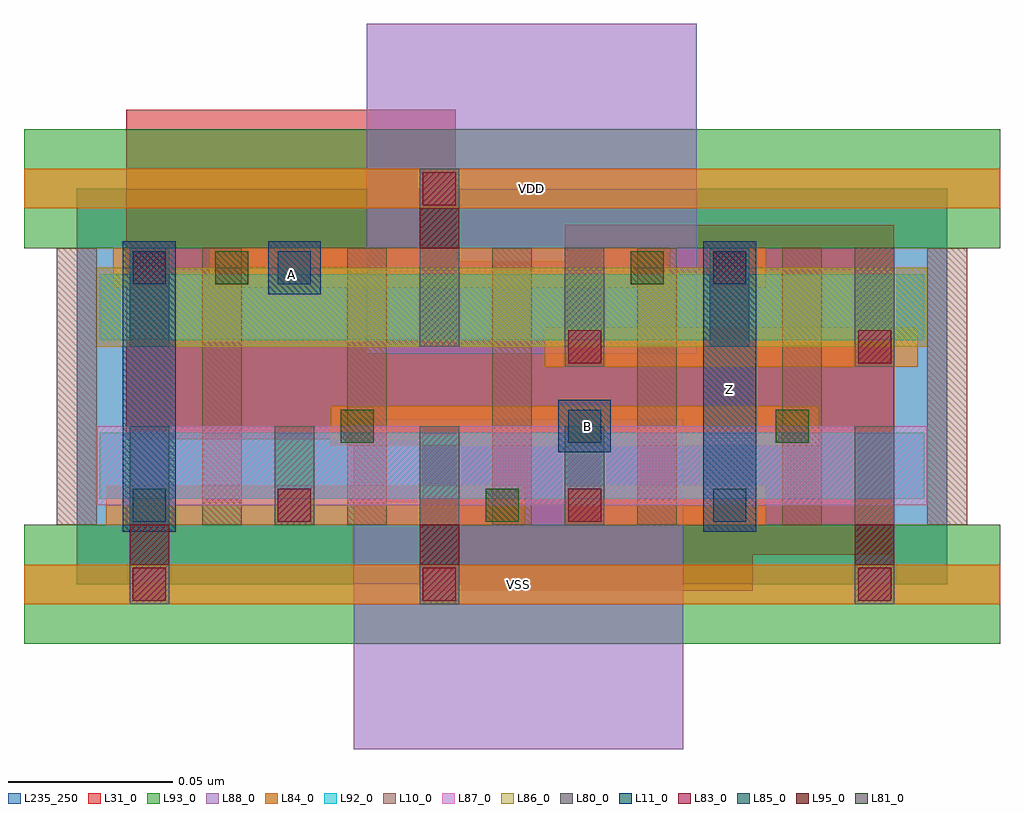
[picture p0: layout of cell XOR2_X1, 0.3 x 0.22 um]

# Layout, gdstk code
import gdstk
lib = gdstk.Library(unit=1e-6, precision=1e-09)
def R(c, l, rs):  # rectangles x0, y0, x1, y1
    for r in rs: c.add(gdstk.rectangle(r[:2], r[2:], *l))
def A(c, l, x, y, w, h, nx, ny, dx, dy):  # array of equal rectangles
    R(c, l, [(x+i*dx, y+j*dy, x+i*dx+w, y+j*dy+h) for i in range(nx) for j in range(ny)])
L10_0 = (10, 0)
L11_0 = (11, 0)
L31_0 = (31, 0)
L80_0 = (80, 0)
L81_0 = (81, 0)
L83_0 = (83, 0)
L84_0 = (84, 0)
L85_0 = (85, 0)
L86_0 = (86, 0)
L87_0 = (87, 0)
L88_0 = (88, 0)
L92_0 = (92, 0)
L93_0 = (93, 0)
L95_0 = (95, 0)
L235_250 = (235, 250)

xor2_x1 = lib.new_cell('XOR2_X1')
A(xor2_x1, L10_0, -0.006, 0.018, 0.012, 0.084, 7, 1, 0.044, 0)
R(xor2_x1, L11_0, [(0.014,0.016,0.03,0.104), (0.19,0.016,0.206,0.104), (0.146,0.04,0.162,0.056), (0.058,0.088,0.074,0.104)])
R(xor2_x1, L31_0, [(0.105,-0.002,0.205,0.098), (0.148,0.009,0.248,0.109), (0.015,0.044,0.115,0.144)])
R(xor2_x1, L80_0, [(0.016,-0.006,0.028,0.048), (0.104,-0.006,0.116,0.048), (0.236,-0.006,0.248,0.048), (0.06,0.018,0.072,0.048), (0.148,0.018,0.16,0.048), (0.148,0.066,0.16,0.102), (0.236,0.066,0.248,0.102), (0.016,0.072,0.028,0.102), (0.104,0.072,0.116,0.126), (0.192,0.072,0.204,0.102)])
R(xor2_x1, L81_0, [(0.124,0.019,0.134,0.029), (0.08,0.043,0.09,0.053), (0.212,0.043,0.222,0.053), (0.042,0.091,0.052,0.101), (0.168,0.091,0.178,0.101)])
R(xor2_x1, L83_0, [(0.017,-0.005,0.027,0.005), (0.105,-0.005,0.115,0.005), (0.237,-0.005,0.247,0.005), (0.061,0.019,0.071,0.029), (0.149,0.019,0.159,0.029), (0.149,0.067,0.159,0.077), (0.237,0.067,0.247,0.077), (0.017,0.091,0.027,0.101), (0.193,0.091,0.203,0.101), (0.105,0.115,0.115,0.125)])
R(xor2_x1, L84_0, [(-0.016,-0.006,0.28,0.006), (0.009,0.018,0.136,0.03), (0.148,0.018,0.209,0.03), (0.077,0.042,0.225,0.054), (0.142,0.066,0.255,0.078), (0.011,0.09,0.028,0.102), (0.04,0.09,0.18,0.102), (0.192,0.09,0.209,0.102), (-0.016,0.114,0.28,0.126)])
R(xor2_x1, L85_0, [(0.017,0.019,0.027,0.029), (0.193,0.019,0.203,0.029), (0.149,0.043,0.159,0.053), (0.017,0.091,0.027,0.101), (0.061,0.091,0.071,0.101), (0.193,0.091,0.203,0.101)])
R(xor2_x1, L86_0, [(0.006,0.072,0.258,0.096)])
R(xor2_x1, L87_0, [(0.006,0.024,0.258,0.048)])
R(xor2_x1, L88_0, [(0.084,-0.05,0.184,0.05), (0.088,0.07,0.188,0.17)])
R(xor2_x1, L92_0, [(0.007,0.026,0.257,0.046), (0.007,0.074,0.257,0.094)])
R(xor2_x1, L93_0, [(-0.016,-0.018,0.28,0.018), (-0.016,0.102,0.28,0.138)])
R(xor2_x1, L95_0, [(0.016,0.006,0.028,0.018), (0.104,0.006,0.116,0.018), (0.236,0.006,0.248,0.018), (0.104,0.102,0.116,0.114)])
R(xor2_x1, L235_250, [(0,0,0.264,0.12)])
xor2_x1.add(gdstk.Label('VDD', (0.138,0.12), layer=88, texttype=0))
xor2_x1.add(gdstk.Label('VSS', (0.134,0), layer=88, texttype=0))
xor2_x1.add(gdstk.Label('A', (0.065,0.094), layer=31, texttype=0))
xor2_x1.add(gdstk.Label('B', (0.155,0.048), layer=31, texttype=0))
xor2_x1.add(gdstk.Label('Z', (0.198,0.059), layer=31, texttype=0))

lib.write_gds('XOR2_X1.gds')
